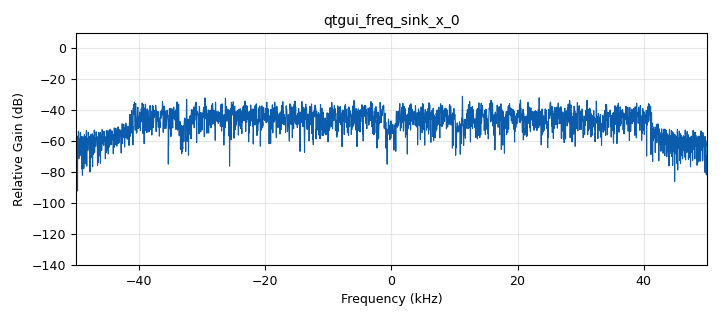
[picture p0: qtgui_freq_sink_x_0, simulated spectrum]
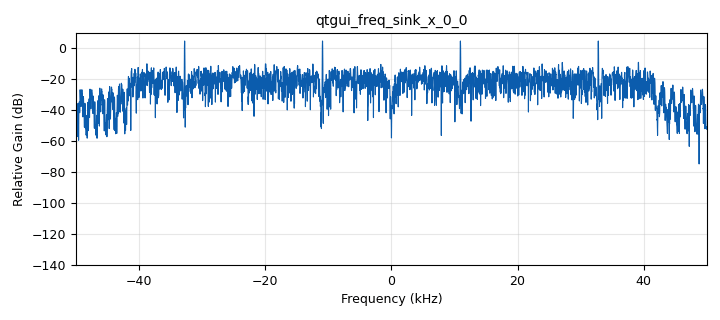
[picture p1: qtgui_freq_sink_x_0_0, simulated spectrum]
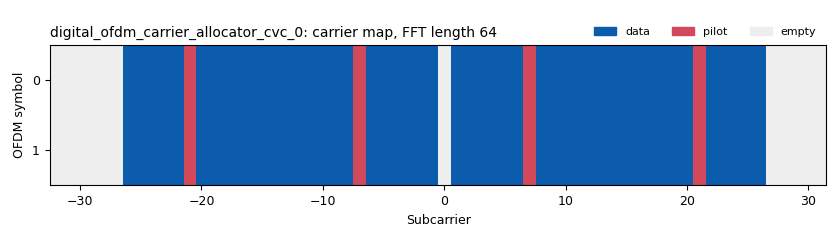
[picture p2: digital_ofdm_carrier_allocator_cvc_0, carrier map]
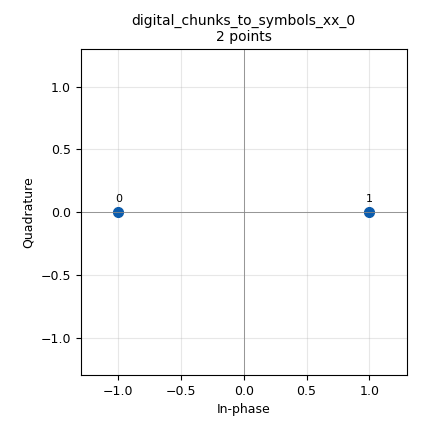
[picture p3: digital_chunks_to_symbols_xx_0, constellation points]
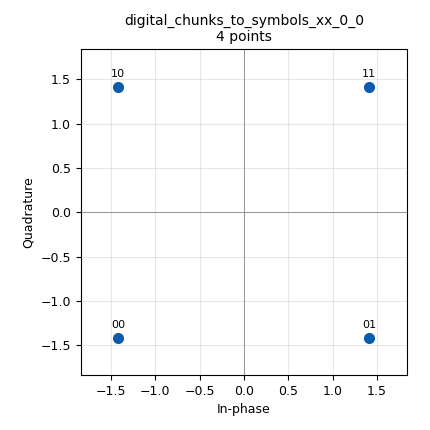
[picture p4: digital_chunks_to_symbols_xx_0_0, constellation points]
options:
  parameters:
    author: wcsng
    generate_options: qt_gui
    id: lab5_multi_carrier
    output_language: python
    title: 'Multi-Carrier OFDM '
  states: {}

blocks:
- name: cp_len
  id: variable
  parameters:
    value: fft_len//4
  states: {}
- name: delay
  id: variable_qtgui_range
  parameters:
    start: '0'
    step: '1'
    stop: '15'
    value: '0'
  states: {}
- name: delay_gain
  id: variable_qtgui_range
  parameters:
    start: '0'
    step: '0.01'
    stop: '1'
    value: '0.5'
  states: {}
- name: fft_len
  id: variable
  parameters:
    value: '64'
  states: {}
- name: header_equalizer
  id: variable
  parameters:
    value: digital.ofdm_equalizer_simpledfe(fft_len, header_mod.base(), occupied_carriers, pilot_carriers, pilot_symbols)
  states: {}
- name: header_formatter
  id: variable
  parameters:
    value: digital.packet_header_ofdm(occupied_carriers, n_syms=1, len_tag_key=length_tag_key, frame_len_tag_key=length_tag_key, bits_per_header_sym=header_mod.bits_per_symbol(), bits_per_payload_sym=payload_mod.bits_per_symbol(), scramble_header=False)
  states: {}
- name: header_mod
  id: variable
  parameters:
    value: digital.constellation_bpsk()
  states: {}
- name: length_tag_key
  id: variable
  parameters:
    value: '"frame_len"'
  states: {}
- name: occupied_carriers
  id: variable
  parameters:
    value: (list(range(-26, -21)) + list(range(-20, -7)) + list(range(-6, 0)) + list(range(1, 7)) + list(range(8, 21)) + list(range(22, 27)),)
  states: {}
- name: packet_len
  id: variable
  parameters:
    value: '96'
  states: {}
- name: packet_length_tag_key
  id: variable
  parameters:
    value: '"packet_len"'
  states: {}
- name: payload_equalizer
  id: variable
  parameters:
    value: digital.ofdm_equalizer_simpledfe(fft_len, payload_mod.base(), occupied_carriers, pilot_carriers, pilot_symbols, 1)
  states: {}
- name: payload_mod
  id: variable
  parameters:
    value: digital.constellation_qpsk()
  states: {}
- name: pilot_carriers
  id: variable
  parameters:
    value: ((-21, -7, 7, 21,),)
  states: {}
- name: pilot_symbols
  id: variable
  parameters:
    value: ((1, 1, 1, -1,),)
  states: {}
- name: rolloff
  id: variable
  parameters:
    value: '0'
  states: {}
- name: samp_rate
  id: variable
  parameters:
    value: '100000'
  states: {}
- name: sync_word1
  id: variable
  parameters:
    value: '[0., 0., 0., 0., 0., 0., 0., 1.41421356, 0., -1.41421356, 0., 1.41421356, 0., -1.41421356, 0., -1.41421356, 0., -1.41421356, 0., 1.41421356, 0., -1.41421356, 0., 1.41421356, 0., -1.41421356, 0., -1.41421356, 0., -1.41421356, 0., -1.41421356, 0., 1.41421356, 0., -1.41421356, 0., 1.41421356, 0., 1.41421356, 0., 1.41421356, 0., -1.41421356, 0., 1.41421356, 0., 1.41421356, 0., 1.41421356, 0., -1.41421356, 0., 1.41421356, 0., 1.41421356, 0., 1.41421356, 0., 0., 0., 0., 0., 0.]'
  states: {}
- name: sync_word2
  id: variable
  parameters:
    value: '[0, 0, 0, 0, 0, 0, -1, -1, -1, -1, 1, 1, -1, -1, -1, 1, -1, 1, 1, 1, 1, 1, -1, -1, -1, -1, -1, 1, -1, -1, 1, -1, 0, 1, -1, 1, 1, 1, -1, 1, 1, 1, -1, 1, 1, 1, 1, -1, 1, -1, -1, -1, 1, -1, 1, -1, -1, -1, -1, 0, 0, 0, 0, 0] '
  states: {}
- name: analog_frequency_modulator_fc_0
  id: analog_frequency_modulator_fc
  parameters:
    sensitivity: '-2.0/fft_len'
  states: {}
- name: analog_random_source_x_0
  id: analog_random_source_x
  parameters:
    max: '255'
    min: '0'
    num_samps: '1000'
    repeat: 'True'
    type: byte
  states: {}
- name: blocks_add_xx_0
  id: blocks_add_xx
  parameters:
    type: complex
  states: {}
- name: blocks_delay_0
  id: blocks_delay
  parameters:
    delay: fft_len+fft_len//4
    type: complex
  states: {}
- name: blocks_delay_0_0
  id: blocks_delay
  parameters:
    delay: delay
    type: complex
  states: {}
- name: blocks_multiply_const_vxx_0
  id: blocks_multiply_const_vxx
  parameters:
    const: '0.05'
    type: complex
  states: {}
- name: blocks_multiply_const_vxx_0_0
  id: blocks_multiply_const_vxx
  parameters:
    const: delay_gain
    type: complex
  states: {}
- name: blocks_multiply_xx_0
  id: blocks_multiply_xx
  parameters:
    type: complex
  states: {}
- name: blocks_repack_bits_bb_0
  id: blocks_repack_bits_bb
  parameters:
    endianness: gr.GR_LSB_FIRST
    k: '8'
    l: payload_mod.bits_per_symbol()
    len_tag_key: length_tag_key
  states: {}
- name: blocks_repack_bits_bb_0_0
  id: blocks_repack_bits_bb
  parameters:
    align_output: 'True'
    endianness: gr.GR_LSB_FIRST
    k: payload_mod.bits_per_symbol()
    l: '8'
    len_tag_key: packet_length_tag_key
  states: {}
- name: blocks_stream_to_tagged_stream_0
  id: blocks_stream_to_tagged_stream
  parameters:
    len_tag_key: length_tag_key
    packet_len: packet_len
    type: byte
  states: {}
- name: blocks_tag_debug_1
  id: blocks_tag_debug
  parameters:
    name: Rx Bytes
    type: byte
  states: {}
- name: blocks_tag_gate_0
  id: blocks_tag_gate
  parameters:
    propagate_tags: 'False'
    type: complex
  states: {}
- name: blocks_tagged_stream_mux_0
  id: blocks_tagged_stream_mux
  parameters:
    lengthtagname: length_tag_key
    ninputs: '2'
    type: complex
  states: {}
- name: blocks_throttle_0
  id: blocks_throttle
  parameters:
    samples_per_second: samp_rate
    type: complex
  states: {}
- name: blocks_throttle_1
  id: blocks_throttle
  parameters:
    samples_per_second: samp_rate
    type: complex
  states: {}
- name: blocks_vector_to_stream_0_1_0
  id: blocks_vector_to_stream
  parameters:
    num_items: '64'
    type: complex
  states: {}
- name: digital_chunks_to_symbols_xx_0
  id: digital_chunks_to_symbols_xx
  parameters:
    dimension: '1'
    in_type: byte
    out_type: complex
    symbol_table: header_mod.points()
  states: {}
- name: digital_chunks_to_symbols_xx_0_0
  id: digital_chunks_to_symbols_xx
  parameters:
    dimension: '1'
    in_type: byte
    out_type: complex
    symbol_table: payload_mod.points()
  states: {}
- name: digital_constellation_decoder_cb_0
  id: digital_constellation_decoder_cb
  parameters:
    constellation: header_mod.base()
  states: {}
- name: digital_constellation_decoder_cb_1
  id: digital_constellation_decoder_cb
  parameters:
    constellation: payload_mod.base()
  states: {}
- name: digital_crc32_bb_0
  id: digital_crc32_bb
  parameters:
    check: 'False'
    lengthtagname: length_tag_key
    packed: 'True'
  states: {}
- name: digital_crc32_bb_0_0
  id: digital_crc32_bb
  parameters:
    check: 'True'
    lengthtagname: packet_length_tag_key
    packed: 'True'
  states: {}
- name: digital_header_payload_demux_0
  id: digital_header_payload_demux
  parameters:
    guard_interval: cp_len
    header_len: '3'
    header_padding: '0'
    items_per_symbol: fft_len
    length_tag_key: length_tag_key
    output_symbols: 'True'
    samp_rate: samp_rate
    special_tags: ()
    timing_tag_key: '"rx_time"'
    type: complex
  states: {}
- name: digital_ofdm_carrier_allocator_cvc_0
  id: digital_ofdm_carrier_allocator_cvc
  parameters:
    fft_len: fft_len
    len_tag_key: length_tag_key
    occupied_carriers: occupied_carriers
    output_is_shifted: 'True'
    pilot_carriers: pilot_carriers
    pilot_symbols: pilot_symbols
    sync_words: (sync_word1, sync_word2)
  states: {}
- name: digital_ofdm_chanest_vcvc_0
  id: digital_ofdm_chanest_vcvc
  parameters:
    force_one_symbol: 'False'
    max_carr_offset: '3'
    n_data_symbols: '1'
    sync_symbol1: sync_word1
    sync_symbol2: sync_word2
  states: {}
- name: digital_ofdm_cyclic_prefixer_0
  id: digital_ofdm_cyclic_prefixer
  parameters:
    cp_len: cp_len
    input_size: fft_len
    rolloff: rolloff
    tagname: length_tag_key
  states: {}
- name: digital_ofdm_frame_equalizer_vcvc_0
  id: digital_ofdm_frame_equalizer_vcvc
  parameters:
    cp_len: cp_len
    equalizer: header_equalizer.base()
    fft_len: fft_len
    fixed_frame_len: '1'
    len_tag_key: length_tag_key
    propagate_channel_state: 'True'
  states: {}
- name: digital_ofdm_frame_equalizer_vcvc_1
  id: digital_ofdm_frame_equalizer_vcvc
  parameters:
    cp_len: cp_len
    equalizer: payload_equalizer.base()
    fft_len: fft_len
    len_tag_key: length_tag_key
    propagate_channel_state: 'True'
  states: {}
- name: digital_ofdm_serializer_vcc_header
  id: digital_ofdm_serializer_vcc
  parameters:
    carr_offset_key: ''
    fft_len: fft_len
    len_tag_key: length_tag_key
    occupied_carriers: occupied_carriers
    packet_len_tag_key: ''
  states: {}
- name: digital_ofdm_serializer_vcc_payload
  id: digital_ofdm_serializer_vcc
  parameters:
    carr_offset_key: ''
    fft_len: fft_len
    len_tag_key: length_tag_key
    occupied_carriers: occupied_carriers
    packet_len_tag_key: packet_length_tag_key
    symbols_skipped: '1'
  states: {}
- name: digital_ofdm_sync_sc_cfb_0
  id: digital_ofdm_sync_sc_cfb
  parameters:
    cp_len: cp_len
    fft_len: fft_len
    threshold: '0.9'
  states: {}
- name: digital_packet_headergenerator_bb_0
  id: digital_packet_headergenerator_bb
  parameters:
    header_formatter: header_formatter.base()
    len_tag_key: length_tag_key
  states: {}
- name: digital_packet_headerparser_b_0
  id: digital_packet_headerparser_b
  parameters:
    header_formatter: header_formatter.base()
  states: {}
- name: epy_module_0
  id: epy_module
  parameters:
    source_code: |-
      # this module will be imported in the into your flowgraph'
      import sys
      import os

      # run the command to generate usb.dat
      cmd1 = 'iio_info -s | grep "usb" | awk \'{print $9}\' | awk -F[ \'{print $2}\' | awk -F] \'{print $1}\' > usb.dat'
      os.system(cmd1)

      # open usb.dat and print its entries
      f = open('usb.dat','r')

      strUSB = f.readlines()                  # read all the lines from iio_info -s
      num_devices = len(strUSB)-1             # get the number of devices

      # clean-up
      f.close()                               # close file once we're done.

      # remove file
      cmd2 = 'rm usb.dat'
      os.system(cmd2)


      if num_devices > 0:
          strUSB = strUSB[1:]

          for n in range(num_devices):
              strUSB[n] = strUSB[n].rstrip()  # strip the "\n" chars out

          TX = strUSB[0]
          RX = strUSB[1]

          print('TX set to Pluto: ' + TX)
          print('Rx set to Pluto: ' + RX)
      else:
          print('No Devices Found!')

      print('\n')

      #print(strUSB)                           # debug print      
  states: {state: disabled}
- name: fft_vxx_0
  id: fft_vxx
  parameters:
    fft_size: fft_len
    forward: 'False'
    shift: 'True'
    type: complex
    window: ()
  states: {}
- name: fft_vxx_0_0
  id: fft_vxx
  parameters:
    fft_size: fft_len
    forward: 'True'
    shift: 'True'
    type: complex
    window: ()
  states: {}
- name: fft_vxx_1
  id: fft_vxx
  parameters:
    fft_size: fft_len
    forward: 'True'
    shift: 'True'
    type: complex
    window: ()
  states: {}
- name: fft_vxx_2
  id: fft_vxx
  parameters:
    fft_size: fft_len
    forward: 'False'
    shift: 'True'
    type: complex
    window: ()
  states: {}
- name: import_1
  id: import
  parameters:
    imports: from gnuradio.digital.utils import tagged_streams
  states: {}
- name: qtgui_freq_sink_x_0
  id: qtgui_freq_sink_x
  parameters:
    bw: samp_rate
    ctrlpanel: 'True'
    fc: '0'
    fftsize: '4096'
    gui_hint: 0,0,1,1
    type: complex
  states: {}
- name: qtgui_freq_sink_x_0_0
  id: qtgui_freq_sink_x
  parameters:
    bw: samp_rate
    ctrlpanel: 'True'
    fc: '0'
    fftsize: '4096'
    gui_hint: 0,1,1,1
    showports: 'True'
    type: complex
  states: {}
- name: virtual_sink_0
  id: virtual_sink
  parameters:
    stream_id: Tx Signal
  states: {}
- name: virtual_source_1_0
  id: virtual_source
  parameters:
    stream_id: Tx Signal
  states: {}

connections:
- [analog_frequency_modulator_fc_0, '0', blocks_multiply_xx_0, '0']
- [analog_random_source_x_0, '0', blocks_stream_to_tagged_stream_0, '0']
- [blocks_add_xx_0, '0', blocks_delay_0, '0']
- [blocks_add_xx_0, '0', digital_ofdm_sync_sc_cfb_0, '0']
- [blocks_add_xx_0, '0', qtgui_freq_sink_x_0, '0']
- [blocks_delay_0, '0', blocks_multiply_xx_0, '1']
- [blocks_delay_0_0, '0', blocks_multiply_const_vxx_0_0, '0']
- [blocks_multiply_const_vxx_0, '0', blocks_tag_gate_0, '0']
- [blocks_multiply_const_vxx_0_0, '0', blocks_add_xx_0, '1']
- [blocks_multiply_xx_0, '0', digital_header_payload_demux_0, '0']
- [blocks_repack_bits_bb_0, '0', digital_chunks_to_symbols_xx_0_0, '0']
- [blocks_repack_bits_bb_0_0, '0', digital_crc32_bb_0_0, '0']
- [blocks_stream_to_tagged_stream_0, '0', digital_crc32_bb_0, '0']
- [blocks_tag_gate_0, '0', blocks_throttle_0, '0']
- [blocks_tagged_stream_mux_0, '0', digital_ofdm_carrier_allocator_cvc_0, '0']
- [blocks_throttle_0, '0', virtual_sink_0, '0']
- [blocks_throttle_1, '0', blocks_add_xx_0, '0']
- [blocks_throttle_1, '0', blocks_delay_0_0, '0']
- [blocks_vector_to_stream_0_1_0, '0', qtgui_freq_sink_x_0_0, '0']
- [digital_chunks_to_symbols_xx_0, '0', blocks_tagged_stream_mux_0, '0']
- [digital_chunks_to_symbols_xx_0_0, '0', blocks_tagged_stream_mux_0, '1']
- [digital_constellation_decoder_cb_0, '0', digital_packet_headerparser_b_0, '0']
- [digital_constellation_decoder_cb_1, '0', blocks_repack_bits_bb_0_0, '0']
- [digital_crc32_bb_0, '0', blocks_repack_bits_bb_0, '0']
- [digital_crc32_bb_0, '0', digital_packet_headergenerator_bb_0, '0']
- [digital_crc32_bb_0_0, '0', blocks_tag_debug_1, '0']
- [digital_header_payload_demux_0, '0', fft_vxx_0_0, '0']
- [digital_header_payload_demux_0, '1', fft_vxx_1, '0']
- [digital_ofdm_carrier_allocator_cvc_0, '0', fft_vxx_0, '0']
- [digital_ofdm_chanest_vcvc_0, '0', digital_ofdm_frame_equalizer_vcvc_0, '0']
- [digital_ofdm_cyclic_prefixer_0, '0', blocks_multiply_const_vxx_0, '0']
- [digital_ofdm_frame_equalizer_vcvc_0, '0', digital_ofdm_serializer_vcc_header, '0']
- [digital_ofdm_frame_equalizer_vcvc_1, '0', digital_ofdm_serializer_vcc_payload, '0']
- [digital_ofdm_frame_equalizer_vcvc_1, '0', fft_vxx_2, '0']
- [digital_ofdm_serializer_vcc_header, '0', digital_constellation_decoder_cb_0, '0']
- [digital_ofdm_serializer_vcc_payload, '0', digital_constellation_decoder_cb_1, '0']
- [digital_ofdm_sync_sc_cfb_0, '0', analog_frequency_modulator_fc_0, '0']
- [digital_ofdm_sync_sc_cfb_0, '1', digital_header_payload_demux_0, '1']
- [digital_packet_headergenerator_bb_0, '0', digital_chunks_to_symbols_xx_0, '0']
- [digital_packet_headerparser_b_0, header_data, digital_header_payload_demux_0, header_data]
- [fft_vxx_0, '0', digital_ofdm_cyclic_prefixer_0, '0']
- [fft_vxx_0_0, '0', digital_ofdm_chanest_vcvc_0, '0']
- [fft_vxx_1, '0', digital_ofdm_frame_equalizer_vcvc_1, '0']
- [fft_vxx_2, '0', blocks_vector_to_stream_0_1_0, '0']
- [virtual_source_1_0, '0', blocks_throttle_1, '0']

metadata:
  file_format: 1
  grc_version: v3.11.0.0git-757-g9d77ad17
